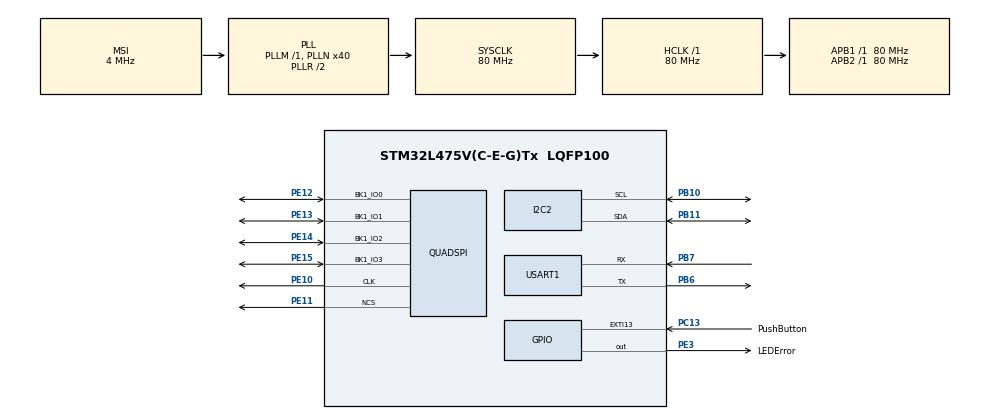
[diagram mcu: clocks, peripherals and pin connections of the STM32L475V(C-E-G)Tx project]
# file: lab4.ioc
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I2C2.Timing=0x10909CEC
Mcu.Family=STM32L4
Mcu.Name=STM32L475V(C-E-G)Tx
Mcu.Package=LQFP100
NVIC.PriorityGroup=NVIC_PRIORITYGROUP_4
PB10.Mode=I2C
PB10.Signal=I2C2_SCL
PB11.Mode=I2C
PB11.Signal=I2C2_SDA
PB6.Mode=Asynchronous
PB6.Signal=USART1_TX
PB7.Mode=Asynchronous
PB7.Signal=USART1_RX
PC13.GPIO_Label=PushButton
PC13.Signal=GPXTI13
PE10.Mode=Single Bank
PE10.Signal=QUADSPI_CLK
PE11.Mode=Single Bank
PE11.Signal=QUADSPI_NCS
PE12.Mode=Single Bank
PE12.Signal=QUADSPI_BK1_IO0
PE13.Mode=Single Bank
PE13.Signal=QUADSPI_BK1_IO1
PE14.Mode=Single Bank
PE14.Signal=QUADSPI_BK1_IO2
PE15.Mode=Single Bank
PE15.Signal=QUADSPI_BK1_IO3
PE3.GPIO_Label=LEDError
PE3.Signal=GPIO_Output
ProjectManager.HeapSize=0x200
ProjectManager.StackSize=0x400
ProjectManager.TargetToolchain=STM32CubeIDE
RCC.ADCFreq_Value=48000000
RCC.AHBFreq_Value=80000000
RCC.APB1Freq_Value=80000000
RCC.APB1TimFreq_Value=80000000
RCC.APB2Freq_Value=80000000
RCC.APB2TimFreq_Value=80000000
RCC.CortexFreq_Value=80000000
RCC.HCLKFreq_Value=80000000
RCC.HSE_VALUE=8000000
RCC.HSI_VALUE=16000000
RCC.LSE_VALUE=32768
RCC.MSI_VALUE=4000000
RCC.PLLN=40
RCC.PLLSAI1N=24
RCC.SYSCLKFreq_VALUE=80000000
RCC.SYSCLKSource=RCC_SYSCLKSOURCE_PLLCLK
RCC.USBFreq_Value=48000000
RCC.VCOOutputFreq_Value=160000000
USART1.VirtualMode-Asynchronous=VM_ASYNC
board=B-L475E-IOT01A1

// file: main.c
/* USER CODE BEGIN Header */
/**
  ******************************************************************************
  * @file           : main.c
  * @brief          : Main program body
  ******************************************************************************
  * @attention
  *
  * Copyright (c) 2023 STMicroelectronics.
  * All rights reserved.
  *
  * This software is licensed under terms that can be found in the LICENSE file
  * in the root directory of this software component.
  * If no LICENSE file comes with this software, it is provided AS-IS.
  *
  ******************************************************************************
  */
/* USER CODE END Header */
#include "main.h"

/* USER CODE BEGIN Includes */
#include <stdio.h>
#include <math.h>
#include "stm32l475e_iot01.h"
#include "stm32l475e_iot01_tsensor.h"
#include "stm32l475e_iot01_qspi.h"
#include "stm32l475e_iot01_psensor.h"
#include "stm32l475e_iot01_accelero.h"
#include "stm32l475e_iot01_hsensor.h"
#include "stm32l475e_iot01_gyro.h"
#include "stm32l475e_iot01_magneto.h"

/* USER CODE END Includes */

/* USER CODE BEGIN PM */
#define WRITE_READ_ADDR 0x20
/* USER CODE END PM */

I2C_HandleTypeDef hi2c2;

QSPI_HandleTypeDef hqspi;

UART_HandleTypeDef huart1;

void SystemClock_Config(void);
static void MX_GPIO_Init(void);
static void MX_I2C2_Init(void);
static void MX_USART1_UART_Init(void);
static void MX_QUADSPI_Init(void);

int main(void)
{
  /* USER CODE BEGIN 1 */
	float temperature = 0;
	float pressure = 0;
	float humidity = 0;

	char message[100] = "";
	char message1[100] = "";
	char message2[100] = "";
	char message3[100] = "";
	char message4[100] = "";
	char message5[100]= "";
	char message6[100]= "";
	char message7[100]="";

	int16_t pDataXYZ[3];
	int16_t pDataXYZMagnet[3];
	float pfData=0;
	//part 3

	uint8_t example_arr[5] = {0, 1, 2, 3, 4};
	uint8_t example_copy[5] = {0, 0, 0, 0, 0};

	uint8_t example_arr2[3] = {5, 6, 7};
	uint8_t example_copy2[8];
  /* USER CODE END 1 */

  /* MCU Configuration--------------------------------------------------------*/

  /* Reset of all peripherals, Initializes the Flash interface and the Systick. */
  HAL_Init();

  /* Configure the system clock */
  SystemClock_Config();

  /* Initialize all configured peripherals */
  MX_GPIO_Init();
  MX_I2C2_Init();
  MX_USART1_UART_Init();
  MX_QUADSPI_Init();
  /* USER CODE BEGIN 2 */
  BSP_TSENSOR_Init();
  BSP_PSENSOR_Init();
  BSP_ACCELERO_Init();
  BSP_HSENSOR_Init();
  BSP_GYRO_Init();
  BSP_MAGNETO_Init();
  BSP_QSPI_Init();

  //part 1 pushbutton
  GPIO_PinState lastButtonState = GPIO_PIN_SET; // Initialize to released state
  uint32_t button_counter =0;

  /* USER CODE END 2 */

  /* Infinite loop */
  while (1)
  {

    /* USER CODE BEGIN 3 */

	 temperature = BSP_TSENSOR_ReadTemp();
	 pressure = BSP_PSENSOR_ReadPressure();
	 humidity = BSP_HSENSOR_ReadHumidity();
	 BSP_ACCELERO_AccGetXYZ(pDataXYZ);
	 BSP_GYRO_GetXYZ(&pfData);
	 BSP_MAGNETO_GetXYZ(pDataXYZMagnet);

	 //part 1
	 //read push button state
	 GPIO_PinState button = HAL_GPIO_ReadPin(PushButton_GPIO_Port, PushButton_Pin);
	 if (button == GPIO_PIN_RESET && lastButtonState == GPIO_PIN_SET) {
		          // Button was pressed
		          button_counter++;
		          if (button_counter > 1) {
		              button_counter = 1;
		          }
		      }

	lastButtonState = button;
	if(button_counter ==1){
//		 snprintf(message, 50, "Temperature = %f\r\n", temperature);
//		 HAL_UART_Transmit(&huart1, (uint8_t *)message, sizeof(message), 10);
		 snprintf(message3, 50, "%d, %d, %d\r\n", pDataXYZ[0], pDataXYZ[1], pDataXYZ[2]);
		 HAL_UART_Transmit(&huart1, (uint8_t *)message3, sizeof(message3), 10);
	}
//	else if (button_counter ==2){
//
//		 snprintf(message1, 50, "Pressure = %f\r\n", pressure);
//		 HAL_UART_Transmit(&huart1, (uint8_t *)message1, sizeof(message1), 10);
//	}else if(button_counter ==3){
//
//		 snprintf(message2, 50, "Humidity = %f\r\n", humidity);
//		 HAL_UART_Transmit(&huart1, (uint8_t *)message2, sizeof(message2), 10);
//	}else if(button_counter == 4){
//		 snprintf(message3, 50, "Accelero X = %d, Y = %d, Z = %d\r\n", pDataXYZ[0], pDataXYZ[1], pDataXYZ[2]);
//		 HAL_UART_Transmit(&huart1, (uint8_t *)message3, sizeof(message3), 10);
//	}else if(button_counter == 5){
//		  snprintf(message4, sizeof(message4), "Gyro = %f\r\n", pfData);
//		  HAL_UART_Transmit(&huart1, (uint8_t *)message4, sizeof(message4), 10);
//	}else{
//		snprintf(message5, sizeof(message5), "Magnet X = %d, Y = %d, Z = %d\r\n", pDataXYZMagnet[0], pDataXYZMagnet[1], pDataXYZMagnet[2]);
//		HAL_UART_Transmit(&huart1, (uint8_t *)message5, sizeof(message5), 10);
//	}
	HAL_Delay(38);

	  //part 3
//	HAL_GPIO_WritePin(LEDError_GPIO_Port, LEDError_Pin, GPIO_PIN_SET);
//	if(BSP_QSPI_Erase_Block((uint8_t)0x00) != QSPI_OK)
//		Error_Handler();
//	if(BSP_QSPI_Write(example_arr, (uint32_t) WRITE_READ_ADDR, sizeof(example_arr)) != QSPI_OK)
//		Error_Handler();
//	if(BSP_QSPI_Read(example_copy, (uint32_t) WRITE_READ_ADDR, sizeof(example_copy)) != QSPI_OK){
//		Error_Handler();
//	}
////	snprintf(message6, sizeof(message6), "copy[0] = %d, copy[1] = %d, copy[2] = %d, copy[3] = %d, copy[4] = %d\r\n", example_copy[0], example_copy[1], example_copy[2],example_copy[3],example_copy[4]);
////	HAL_UART_Transmit(&huart1, (uint8_t *)message6, sizeof(message6), 10);
//
//	if(BSP_QSPI_Write(example_arr2, (uint32_t) WRITE_READ_ADDR + sizeof(example_arr) , sizeof(example_arr2)) != QSPI_OK)
//		Error_Handler();
//	if(BSP_QSPI_Read(example_copy2, (uint32_t) WRITE_READ_ADDR, sizeof(example_copy2)) != QSPI_OK)
//		Error_Handler();
////	snprintf(message7, sizeof(message7), "copy2[0] = %d, copy[1] = %d, copy[2] = %d\r\n", example_copy2[5], example_copy2[6], example_copy2[7]);
////	HAL_UART_Transmit(&huart1, (uint8_t *)message7, sizeof(message7), 10);
  }
  /* USER CODE END 3 */
}

void SystemClock_Config(void)
{
  RCC_OscInitTypeDef RCC_OscInitStruct = {0};
  RCC_ClkInitTypeDef RCC_ClkInitStruct = {0};

  /** Configure the main internal regulator output voltage
  */
  if (HAL_PWREx_ControlVoltageScaling(PWR_REGULATOR_VOLTAGE_SCALE1) != HAL_OK)
  {
    Error_Handler();
  }

  /** Initializes the RCC Oscillators according to the specified parameters
  * in the RCC_OscInitTypeDef structure.
  */
  RCC_OscInitStruct.OscillatorType = RCC_OSCILLATORTYPE_MSI;
  RCC_OscInitStruct.MSIState = RCC_MSI_ON;
  RCC_OscInitStruct.MSICalibrationValue = 0;
  RCC_OscInitStruct.MSIClockRange = RCC_MSIRANGE_6;
  RCC_OscInitStruct.PLL.PLLState = RCC_PLL_ON;
  RCC_OscInitStruct.PLL.PLLSource = RCC_PLLSOURCE_MSI;
  RCC_OscInitStruct.PLL.PLLM = 1;
  RCC_OscInitStruct.PLL.PLLN = 40;
  RCC_OscInitStruct.PLL.PLLP = RCC_PLLP_DIV7;
  RCC_OscInitStruct.PLL.PLLQ = RCC_PLLQ_DIV2;
  RCC_OscInitStruct.PLL.PLLR = RCC_PLLR_DIV2;
  if (HAL_RCC_OscConfig(&RCC_OscInitStruct) != HAL_OK)
  {
    Error_Handler();
  }

  /** Initializes the CPU, AHB and APB buses clocks
  */
  RCC_ClkInitStruct.ClockType = RCC_CLOCKTYPE_HCLK|RCC_CLOCKTYPE_SYSCLK
                              |RCC_CLOCKTYPE_PCLK1|RCC_CLOCKTYPE_PCLK2;
  RCC_ClkInitStruct.SYSCLKSource = RCC_SYSCLKSOURCE_PLLCLK;
  RCC_ClkInitStruct.AHBCLKDivider = RCC_SYSCLK_DIV1;
  RCC_ClkInitStruct.APB1CLKDivider = RCC_HCLK_DIV1;
  RCC_ClkInitStruct.APB2CLKDivider = RCC_HCLK_DIV1;

  if (HAL_RCC_ClockConfig(&RCC_ClkInitStruct, FLASH_LATENCY_4) != HAL_OK)
  {
    Error_Handler();
  }
}

static void MX_I2C2_Init(void)
{

  hi2c2.Instance = I2C2;
  hi2c2.Init.Timing = 0x10909CEC;
  hi2c2.Init.OwnAddress1 = 0;
  hi2c2.Init.AddressingMode = I2C_ADDRESSINGMODE_7BIT;
  hi2c2.Init.DualAddressMode = I2C_DUALADDRESS_DISABLE;
  hi2c2.Init.OwnAddress2 = 0;
  hi2c2.Init.OwnAddress2Masks = I2C_OA2_NOMASK;
  hi2c2.Init.GeneralCallMode = I2C_GENERALCALL_DISABLE;
  hi2c2.Init.NoStretchMode = I2C_NOSTRETCH_DISABLE;
  if (HAL_I2C_Init(&hi2c2) != HAL_OK)
  {
    Error_Handler();
  }

  /** Configure Analogue filter
  */
  if (HAL_I2CEx_ConfigAnalogFilter(&hi2c2, I2C_ANALOGFILTER_ENABLE) != HAL_OK)
  {
    Error_Handler();
  }

  /** Configure Digital filter
  */
  if (HAL_I2CEx_ConfigDigitalFilter(&hi2c2, 0) != HAL_OK)
  {
    Error_Handler();
  }

}

static void MX_QUADSPI_Init(void)
{

  /* QUADSPI parameter configuration*/
  hqspi.Instance = QUADSPI;
  hqspi.Init.ClockPrescaler = 255;
  hqspi.Init.FifoThreshold = 1;
  hqspi.Init.SampleShifting = QSPI_SAMPLE_SHIFTING_NONE;
  hqspi.Init.FlashSize = 1;
  hqspi.Init.ChipSelectHighTime = QSPI_CS_HIGH_TIME_1_CYCLE;
  hqspi.Init.ClockMode = QSPI_CLOCK_MODE_0;
  if (HAL_QSPI_Init(&hqspi) != HAL_OK)
  {
    Error_Handler();
  }

}

static void MX_USART1_UART_Init(void)
{

  huart1.Instance = USART1;
  huart1.Init.BaudRate = 115200;
  huart1.Init.WordLength = UART_WORDLENGTH_8B;
  huart1.Init.StopBits = UART_STOPBITS_1;
  huart1.Init.Parity = UART_PARITY_NONE;
  huart1.Init.Mode = UART_MODE_TX_RX;
  huart1.Init.HwFlowCtl = UART_HWCONTROL_NONE;
  huart1.Init.OverSampling = UART_OVERSAMPLING_16;
  huart1.Init.OneBitSampling = UART_ONE_BIT_SAMPLE_DISABLE;
  huart1.AdvancedInit.AdvFeatureInit = UART_ADVFEATURE_NO_INIT;
  if (HAL_UART_Init(&huart1) != HAL_OK)
  {
    Error_Handler();
  }

}

static void MX_GPIO_Init(void)
{
  GPIO_InitTypeDef GPIO_InitStruct = {0};

  /* GPIO Ports Clock Enable */
  __HAL_RCC_GPIOE_CLK_ENABLE();
  __HAL_RCC_GPIOC_CLK_ENABLE();
  __HAL_RCC_GPIOB_CLK_ENABLE();

  /*Configure GPIO pin Output Level */
  HAL_GPIO_WritePin(LEDError_GPIO_Port, LEDError_Pin, GPIO_PIN_RESET);

  /*Configure GPIO pin : LEDError_Pin */
  GPIO_InitStruct.Pin = LEDError_Pin;
  GPIO_InitStruct.Mode = GPIO_MODE_OUTPUT_PP;
  GPIO_InitStruct.Pull = GPIO_NOPULL;
  GPIO_InitStruct.Speed = GPIO_SPEED_FREQ_LOW;
  HAL_GPIO_Init(LEDError_GPIO_Port, &GPIO_InitStruct);

  /*Configure GPIO pin : PushButton_Pin */
  GPIO_InitStruct.Pin = PushButton_Pin;
  GPIO_InitStruct.Mode = GPIO_MODE_IT_RISING;
  GPIO_InitStruct.Pull = GPIO_NOPULL;
  HAL_GPIO_Init(PushButton_GPIO_Port, &GPIO_InitStruct);

}

void Error_Handler(void)
{
  /* USER CODE BEGIN Error_Handler_Debug */
  /* User can add his own implementation to report the HAL error return state */
	HAL_GPIO_WritePin(LEDError_GPIO_Port, LEDError_Pin, GPIO_PIN_RESET);
	__BKPT();

  __disable_irq();

  while (1)
  {
  }
  /* USER CODE END Error_Handler_Debug */
}
